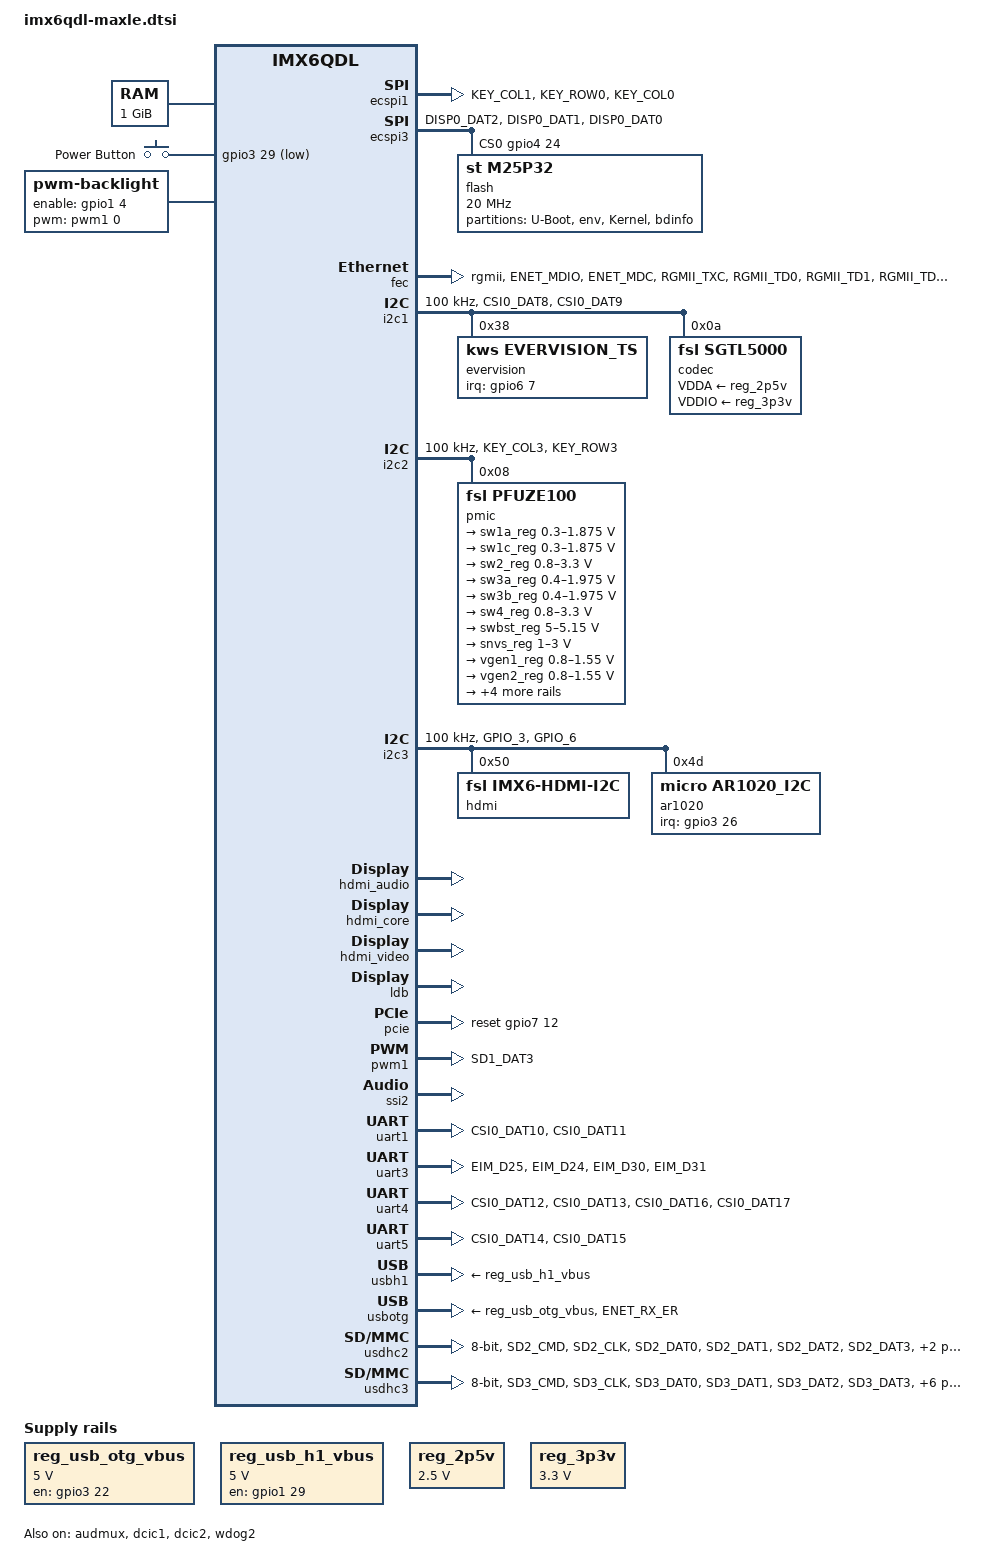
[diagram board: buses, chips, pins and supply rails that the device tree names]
/*
 * Copyright 2012 Freescale Semiconductor, Inc.
 * Copyright 2011 Linaro Ltd.
 *
 * The code contained herein is licensed under the GNU General Public
 * License. You may obtain a copy of the GNU General Public License
 * Version 2 or later at the following locations:
 *
 * http://www.opensource.org/licenses/gpl-license.html
 * http://www.gnu.org/copyleft/gpl.html
 */

#include <dt-bindings/input/input.h>

/ {
	aliases {
		mxcfb0 = &mxcfb1;
		mxcfb1 = &mxcfb2;
		mxcfb2 = &mxcfb3;
		mxcfb3 = &mxcfb4;
	};

	memory {
		reg = <0x10000000 0x40000000>;
	};

	regulators {
		compatible = "simple-bus";
		#address-cells = <1>;
		#size-cells = <0>;

		reg_usb_otg_vbus: regulator@0 {
			compatible = "regulator-fixed";
			reg = <0>;
			regulator-name = "usb_otg_vbus";
			regulator-min-microvolt = <5000000>;
			regulator-max-microvolt = <5000000>;
			gpio = <&gpio3 22 0>;
			enable-active-high;
		};

		reg_usb_h1_vbus: regulator@1 {
			compatible = "regulator-fixed";
			reg = <1>;
			regulator-name = "usb_h1_vbus";
			regulator-min-microvolt = <5000000>;
			regulator-max-microvolt = <5000000>;
			gpio = <&gpio1 29 0>;
			enable-active-high;
		};

		reg_2p5v: regulator@2 {
			compatible = "regulator-fixed";
			reg = <2>;			
			regulator-name = "2P5V";
			regulator-min-microvolt = <2500000>;
			regulator-max-microvolt = <2500000>;
			regulator-always-on;
		};

		reg_3p3v: regulator@3 {
			compatible = "regulator-fixed";
			reg = <3>;
			regulator-name = "3P3V";
			regulator-min-microvolt = <3300000>;
			regulator-max-microvolt = <3300000>;
			regulator-always-on;
		};
	};

	gpio-keys {
		compatible = "gpio-keys";
		pinctrl-names = "default";
		pinctrl-0 = <&pinctrl_gpio_keys>;

		power {
			label = "Power Button";
			gpios = <&gpio3 29 1>;
			gpio-key,wakeup;
			linux,code = <KEY_POWER>;
		};
	};

	sound {
		compatible = "fsl,imx6q-maxle-sgtl5000",
					 "fsl,imx-audio-sgtl5000";
		model = "imx6q-maxle-sgtl5000";
  		cpu-dai = <&ssi2>; 
		audio-codec = <&codec>;
		audio-routing =
			"MIC_IN", "Mic Jack",
			"Mic Jack", "Mic Bias",
			"Headphone Jack", "HP_OUT";
		mux-int-port = <2>;
		mux-ext-port = <3>;
	};


	sound-hdmi {
		compatible = "fsl,imx6q-audio-hdmi",
			     "fsl,imx-audio-hdmi";
		model = "imx-audio-hdmi";
		hdmi-controller = <&hdmi_audio>;
	};

	mxcfb1: fb@0 {
		compatible = "fsl,mxc_sdc_fb";
		disp_dev = "ldb";
		interface_pix_fmt = "RGB666";
		default_bpp = <16>;
		int_clk = <0>;
		late_init = <0>;
		status = "disabled";
	};

	mxcfb2: fb@1 {
		compatible = "fsl,mxc_sdc_fb";
		disp_dev = "hdmi";
		interface_pix_fmt = "RGB24";
		mode_str ="1920x1080M@60";
		default_bpp = <24>;
		int_clk = <0>;
		late_init = <0>;
		status = "disabled";
	};

	mxcfb3: fb@3 {
		compatible = "fsl,mxc_sdc_fb";
		disp_dev = "ldb";
		interface_pix_fmt = "RGB666";
		mode_str ="LDB-XGA"; 
		default_bpp = <16>;
		int_clk = <0>;
		late_init = <0>;
		status = "disabled";
	};

	mxcfb4: fb@3 {
		compatible = "fsl,mxc_sdc_fb";
		disp_dev = "ldb";
		interface_pix_fmt = "RGB666";
		mode_str ="LDB-XGA";
		default_bpp = <16>;
		int_clk = <0>;
		late_init = <0>;
		status = "disabled";
	};

	backlight {
		compatible = "pwm-backlight";
		pwms = <&pwm1 0 5000000>;
		brightness-levels = <0 4 8 16 32 64 128 255>;
		default-brightness-level = <7>;
		status = "okay";   // fehlt bei maxle-alt
		enable-gpios = <&gpio1 4 GPIO_ACTIVE_HIGH>;   //maxles display board
	};

/* maxle: removed for test
	v4l2_cap_0 {
		compatible = "fsl,imx6q-v4l2-capture";
		ipu_id = <0>;
		csi_id = <0>;
		mclk_source = <0>;
		status = "okay";
	};

	v4l2_cap_1 {
		compatible = "fsl,imx6q-v4l2-capture";
		ipu_id = <0>;
		csi_id = <1>;
		mclk_source = <0>;
		status = "okay";
	};
*/
	v4l2_out {
		compatible = "fsl,mxc_v4l2_output";
		status = "okay";
	};

/* maxle: removed
	mipi_dsi_reset: mipi-dsi-reset {
		compatible = "gpio-reset";
		reset-gpios = <&gpio6 11 GPIO_ACTIVE_LOW>;
		reset-delay-us = <50>;
		#reset-cells = <0>;
	};
*/
};

&audmux {
	pinctrl-names = "default";
	pinctrl-0 = <&pinctrl_audmux>;
	status = "okay";
};

&cpu0 {
	arm-supply = <&sw1a_reg>;
	soc-supply = <&sw1c_reg>;
};

&ecspi1 {
	fsl,spi-num-chipselects = <1>;
	cs-gpios = <&gpio4 9 0>;
	pinctrl-names = "default";
	pinctrl-0 = <&pinctrl_ecspi1>;
	status = "okay";
};


&ecspi3 {
	fsl,spi-num-chipselects = <1>;
	cs-gpios = <&gpio4 24 0>;
	pinctrl-names = "default";
	pinctrl-0 = <&pinctrl_ecspi3>;
	status = "okay";

	flash: m25p80@0 {
		#address-cells = <1>;
		#size-cells = <1>;
		compatible = "st,m25p32";
		spi-max-frequency = <20000000>;
		reg = <0>;
		
		partition@0 {
			label = "U-Boot";
			reg = <0x0 0xC0000>;
			//read-only;
		};
		partition@C0000 {
			label = "env";
			reg = <0xc0000 0x10000>;
			//read-only;
		};
		partition@D0000 {
			label = "Kernel";
			reg = <0xd0000 0x320000>;
		};
		partition@3F0000 {
			label = "bdinfo";
			reg = <0x3f0000 0x10000>;
			//read-only;
		};

	};
};


&fec {
	pinctrl-names = "default";
	pinctrl-0 = <&pinctrl_enet>;
	phy-mode = "rgmii";
	phy-reset-duration = <10>;
#if 0
	/* In 3.10.17, reset is not well supported by software! Don'use it. */ 
	phy-reset-gpios = <&gpio1 25 0>;  /* reset bei maxle (muss auskommentiert sein */
#endif
	//mac-address = [00 01 02 03 04 05];   //wird von uboot gefuellt, wenn vorhanden
	local-mac-address = [00 17 53 00 00 01]; //wird normalerweise von uboot erzeugt
//	fsl,magic-packet;   // that's new, for now, don't use
	status = "okay";
};

&i2c1 {
	clock-frequency = <100000>;
	pinctrl-names = "default";
	pinctrl-0 = <&pinctrl_i2c1>; 
	status = "okay";

	evervision: touch@38 {
		compatible = "kws,evervision_ts";
		reg = <0x38>;
		interrupt-parent = <&gpio6>;
		interrupts = <7 2>;  /* org 0 statt 2 ?*/
		status = "okay";
	}; 
 
	codec: sgtl5000@0a {
		compatible = "fsl,sgtl5000";
		reg = <0x0a>;
		clocks = <&clks 201>;
		VDDA-supply = <&reg_2p5v>;
		VDDIO-supply = <&reg_3p3v>;
	};
};

&i2c2 {
	clock-frequency = <100000>;
	pinctrl-names = "default";
	pinctrl-0 = <&pinctrl_i2c2>;
	status = "okay";

	pmic: pfuze100@08 {
		compatible = "fsl,pfuze100";
		reg = <0x08>;

		regulators {
			sw1a_reg: sw1ab {
				regulator-min-microvolt = <300000>;
				regulator-max-microvolt = <1875000>;
				regulator-boot-on;
				regulator-always-on;
				regulator-ramp-delay = <6250>;
			};

			sw1c_reg: sw1c {
				regulator-min-microvolt = <300000>;
				regulator-max-microvolt = <1875000>;
				regulator-boot-on;
				regulator-always-on;
				regulator-ramp-delay = <6250>;
			};

			sw2_reg: sw2 {
				regulator-min-microvolt = <800000>;
				regulator-max-microvolt = <3300000>;
				regulator-boot-on;
				regulator-always-on;
			};

			sw3a_reg: sw3a {
				regulator-min-microvolt = <400000>;
				regulator-max-microvolt = <1975000>;
				regulator-boot-on;
				regulator-always-on;
			};

			sw3b_reg: sw3b {
				regulator-min-microvolt = <400000>;
				regulator-max-microvolt = <1975000>;
				regulator-boot-on;
				regulator-always-on;
			};

			sw4_reg: sw4 {
				regulator-min-microvolt = <800000>;
				regulator-max-microvolt = <3300000>;
			};

			swbst_reg: swbst {
				regulator-min-microvolt = <5000000>;
				regulator-max-microvolt = <5150000>;
			};

			snvs_reg: vsnvs {
				regulator-min-microvolt = <1000000>;
				regulator-max-microvolt = <3000000>;
				regulator-boot-on;
				regulator-always-on;
			};

			vref_reg: vrefddr {
				regulator-boot-on;
				regulator-always-on;
			};

			vgen1_reg: vgen1 {
				regulator-min-microvolt = <800000>;
				regulator-max-microvolt = <1550000>;
 				regulator-always-on; 
			};

			vgen2_reg: vgen2 {
				regulator-min-microvolt = <800000>;
				regulator-max-microvolt = <1550000>;
 				regulator-always-on;
			};

			vgen3_reg: vgen3 {
				regulator-min-microvolt = <1800000>;
				regulator-max-microvolt = <3300000>;
				regulator-always-on;
			};

			vgen4_reg: vgen4 {
				regulator-min-microvolt = <1800000>;
				regulator-max-microvolt = <3300000>;
				regulator-always-on;
			};

			vgen5_reg: vgen5 {
				regulator-min-microvolt = <1800000>;
				regulator-max-microvolt = <3300000>;
				regulator-always-on;
			};

			vgen6_reg: vgen6 {
				regulator-min-microvolt = <1800000>;
				regulator-max-microvolt = <3300000>;
				regulator-always-on;
			};
		};
	};

};

&i2c3 {
	clock-frequency = <100000>;
	pinctrl-names = "default";
	pinctrl-0 = <&pinctrl_i2c3>; 
	status = "okay";

	hdmi: edid@50 {
		compatible = "fsl,imx6-hdmi-i2c";
		reg = <0x50>;
	};
 
 	ar1020@4D {
		compatible = "micro,ar1020_i2c";
		reg = <0x4D>;
		interrupt-parent = <&gpio3>;
		interrupts = <26 2>;
		status = "okay";
	};
};

&iomuxc {
	pinctrl-names = "default";
	pinctrl-0 = <&pinctrl_hog>;

	imx6qdl-maxle {
		pinctrl_hog: hoggrp {
			fsl,pins = <
				MX6QDL_PAD_NANDF_D0__GPIO2_IO00	 0x80000000
				MX6QDL_PAD_NANDF_D1__GPIO2_IO01	 0x80000000
				MX6QDL_PAD_NANDF_D2__GPIO2_IO02	 0x80000000
				MX6QDL_PAD_NANDF_D3__GPIO2_IO03	 0x80000000
				MX6QDL_PAD_NANDF_ALE__GPIO6_IO08 0x80000000
				MX6QDL_PAD_NANDF_CLE__GPIO6_IO07 0x80000000
				MX6QDL_PAD_GPIO_0__CCM_CLKO1     0x130b0
				MX6QDL_PAD_NANDF_CS2__GPIO6_IO15 0x80000000
				MX6QDL_PAD_NANDF_CS3__GPIO6_IO16 0x80000000
				MX6QDL_PAD_EIM_D26__GPIO3_IO26   0x80000000
				MX6QDL_PAD_EIM_CS1__GPIO2_IO24   0x80000000
				MX6QDL_PAD_ENET_RXD0__GPIO1_IO27 0x80000000
				MX6QDL_PAD_EIM_A25__GPIO5_IO02   0x80000000
				MX6QDL_PAD_EIM_D23__GPIO3_IO23   0x80000000
				MX6QDL_PAD_ENET_TXD1__GPIO1_IO29 0x80000000
				MX6QDL_PAD_EIM_D22__GPIO3_IO22   0x80000000
				MX6QDL_PAD_NANDF_CS0__GPIO6_IO11 0x80000000
				MX6QDL_PAD_NANDF_CS1__GPIO6_IO14 0x80000000
				MX6QDL_PAD_EIM_EB3__GPIO2_IO31   0x80000000
				MX6QDL_PAD_EIM_D16__GPIO3_IO16   0x80000000
				MX6QDL_PAD_EIM_DA9__GPIO3_IO09   0x80000000
				MX6QDL_PAD_SD3_RST__GPIO7_IO08   0x80000000		/* headphone detect */
				MX6QDL_PAD_GPIO_9__GPIO1_IO09    0x80000000		/* microphone detect */
				MX6QDL_PAD_GPIO_1__WDOG2_B       0x80000000
				MX6QDL_PAD_GPIO_2__GPIO1_IO02    0x80000000
				MX6QDL_PAD_ENET_TX_EN__GPIO1_IO28  0x1b0b0		/* ethernet IRQ */
				MX6QDL_PAD_ENET_CRS_DV__GPIO1_IO25 0x1b0b0		/* phy reset 0x80000000=ok  0x1b0b0=ok */

				MX6QDL_PAD_NANDF_D4__GPIO2_IO04   0x1b0b1       /* uart3_485 */
				MX6QDL_PAD_NANDF_D5__GPIO2_IO05   0x1b0b1       /* uart3_on */
				MX6QDL_PAD_NANDF_D6__GPIO2_IO06   0x1b0b1       /* V1:  uart3_ren  485 */
																/* V2:  uart3_hafu   low=fulldupex */ 
				MX6QDL_PAD_NANDF_D7__GPIO2_IO07   0x1b0b1       /* V1: uart3_den  485 */
																/* V2: uart3_term */
				MX6QDL_PAD_DISP0_DAT3__GPIO4_IO24 0x1b0b1		/*CS0 SPI3 Flash */

				MX6QDL_PAD_EIM_D19__GPIO3_IO19   0x80000000		/*pcie PowerON  1=on maxle neu 28.10.14*/
				MX6QDL_PAD_GPIO_17__GPIO7_IO12   0x80000000		/*pcie Reset 0=reset */
				MX6QDL_PAD_KEY_COL4__GPIO4_IO14  0x80000000		/*pcie Disable  0=disable */
				MX6QDL_PAD_EIM_D21__USB_OTG_OC   0x80000000		/* OTG Overcurrent */
			>;
		};

		pinctrl_audmux: audmuxgrp {	//audmux-2 ok
			fsl,pins = <
				MX6QDL_PAD_CSI0_DAT7__AUD3_RXD		0x130b0
				MX6QDL_PAD_CSI0_DAT4__AUD3_TXC		0x130b0
				MX6QDL_PAD_CSI0_DAT5__AUD3_TXD		0x110b0
				MX6QDL_PAD_CSI0_DAT6__AUD3_TXFS		0x130b0
			>;
		};

		pinctrl_ecspi1: ecspi1grp {	//ecspi1grp-2 ok
			fsl,pins = <
				MX6QDL_PAD_KEY_COL1__ECSPI1_MISO	0x100b1
				MX6QDL_PAD_KEY_ROW0__ECSPI1_MOSI	0x100b1
				MX6QDL_PAD_KEY_COL0__ECSPI1_SCLK	0x100b1
			>;
		};

		pinctrl_ecspi3: ecspi3grp-1 {	//ecspi1grp-1 ok
			fsl,pins = <
				MX6QDL_PAD_DISP0_DAT2__ECSPI3_MISO	0x100b1
				MX6QDL_PAD_DISP0_DAT1__ECSPI3_MOSI	0x100b1
				MX6QDL_PAD_DISP0_DAT0__ECSPI3_SCLK	0x100b1
			>;
		};

		pinctrl_enet: enetgrp {
			fsl,pins = <
				MX6QDL_PAD_ENET_MDIO__ENET_MDIO		0x1b0b0
				MX6QDL_PAD_ENET_MDC__ENET_MDC		0x1b0b0
				MX6QDL_PAD_RGMII_TXC__RGMII_TXC		0x1b0b0
				MX6QDL_PAD_RGMII_TD0__RGMII_TD0		0x1b0b0
				MX6QDL_PAD_RGMII_TD1__RGMII_TD1		0x1b0b0
				MX6QDL_PAD_RGMII_TD2__RGMII_TD2		0x1b0b0
				MX6QDL_PAD_RGMII_TD3__RGMII_TD3		0x1b0b0
				MX6QDL_PAD_RGMII_TX_CTL__RGMII_TX_CTL	0x1b0b0
				MX6QDL_PAD_ENET_REF_CLK__ENET_TX_CLK	0x1b0b0
				MX6QDL_PAD_RGMII_RXC__RGMII_RXC		0x1b0b0
				MX6QDL_PAD_RGMII_RD0__RGMII_RD0		0x1b0b0
				MX6QDL_PAD_RGMII_RD1__RGMII_RD1		0x1b0b0
				MX6QDL_PAD_RGMII_RD2__RGMII_RD2		0x1b0b0
				MX6QDL_PAD_RGMII_RD3__RGMII_RD3		0x1b0b0
				MX6QDL_PAD_RGMII_RX_CTL__RGMII_RX_CTL	0x1b0b0
// 				MX6QDL_PAD_GPIO_16__ENET_REF_CLK	0x4001b0a8
				MX6QDL_PAD_GPIO_16__ENET_REF_CLK	0xc0000000 //maxle test ???
			>;
		};

		pinctrl_gpio_keys: gpio_keysgrp {
			fsl,pins = <
				MX6QDL_PAD_EIM_D29__GPIO3_IO29 0x80000000
				MX6QDL_PAD_GPIO_4__GPIO1_IO04  0x80000000
				MX6QDL_PAD_GPIO_5__GPIO1_IO05  0x80000000
			>;
		};

/* 
		pinctrl_hdmi_cec: hdmicecgrp {
			fsl,pins = <
				MX6QDL_PAD_KEY_ROW2__HDMI_TX_CEC_LINE 0x1f8b0
			>;
		};
*/

		pinctrl_i2c1: i2c1grp {
			fsl,pins = <	//maxle _2
				MX6QDL_PAD_CSI0_DAT8__I2C1_SDA 0x4001b8b1
				MX6QDL_PAD_CSI0_DAT9__I2C1_SCL 0x4001b8b1
			>;
		};

		pinctrl_i2c2: i2c2grp {
			fsl,pins = <	//maxle _2
				MX6QDL_PAD_KEY_COL3__I2C2_SCL 0x4001b8b1
				MX6QDL_PAD_KEY_ROW3__I2C2_SDA 0x4001b8b1
			>;

		};

		pinctrl_i2c3: i2c3grp {
			fsl,pins = <
				MX6QDL_PAD_GPIO_3__I2C3_SCL		0x4001b8b1
				MX6QDL_PAD_GPIO_6__I2C3_SDA		0x4001b8b1
			>;
		};

		pinctrl_ipu1: ipu1grp {
			fsl,pins = <
				MX6QDL_PAD_DI0_DISP_CLK__IPU1_DI0_DISP_CLK 0x10
				MX6QDL_PAD_DI0_PIN15__IPU1_DI0_PIN15       0x10
				MX6QDL_PAD_DI0_PIN2__IPU1_DI0_PIN02        0x10
				MX6QDL_PAD_DI0_PIN3__IPU1_DI0_PIN03        0x10
				MX6QDL_PAD_DI0_PIN4__IPU1_DI0_PIN04        0x80000000
				MX6QDL_PAD_DISP0_DAT0__IPU1_DISP0_DATA00   0x10
				MX6QDL_PAD_DISP0_DAT1__IPU1_DISP0_DATA01   0x10
				MX6QDL_PAD_DISP0_DAT2__IPU1_DISP0_DATA02   0x10
				MX6QDL_PAD_DISP0_DAT3__IPU1_DISP0_DATA03   0x10
				MX6QDL_PAD_DISP0_DAT4__IPU1_DISP0_DATA04   0x10
				MX6QDL_PAD_DISP0_DAT5__IPU1_DISP0_DATA05   0x10
				MX6QDL_PAD_DISP0_DAT6__IPU1_DISP0_DATA06   0x10
				MX6QDL_PAD_DISP0_DAT7__IPU1_DISP0_DATA07   0x10
				MX6QDL_PAD_DISP0_DAT8__IPU1_DISP0_DATA08   0x10
				MX6QDL_PAD_DISP0_DAT9__IPU1_DISP0_DATA09   0x10
				MX6QDL_PAD_DISP0_DAT10__IPU1_DISP0_DATA10  0x10
				MX6QDL_PAD_DISP0_DAT11__IPU1_DISP0_DATA11  0x10
				MX6QDL_PAD_DISP0_DAT12__IPU1_DISP0_DATA12  0x10
				MX6QDL_PAD_DISP0_DAT13__IPU1_DISP0_DATA13  0x10
				MX6QDL_PAD_DISP0_DAT14__IPU1_DISP0_DATA14  0x10
				MX6QDL_PAD_DISP0_DAT15__IPU1_DISP0_DATA15  0x10
				MX6QDL_PAD_DISP0_DAT16__IPU1_DISP0_DATA16  0x10
				MX6QDL_PAD_DISP0_DAT17__IPU1_DISP0_DATA17  0x10
				MX6QDL_PAD_DISP0_DAT18__IPU1_DISP0_DATA18  0x10
				MX6QDL_PAD_DISP0_DAT19__IPU1_DISP0_DATA19  0x10
				MX6QDL_PAD_DISP0_DAT20__IPU1_DISP0_DATA20  0x10
				MX6QDL_PAD_DISP0_DAT21__IPU1_DISP0_DATA21  0x10
				MX6QDL_PAD_DISP0_DAT22__IPU1_DISP0_DATA22  0x10
				MX6QDL_PAD_DISP0_DAT23__IPU1_DISP0_DATA23  0x10
			>;
		};

		pinctrl_ipu1_2: ipu1grp-2 { /* parallel camera */
			fsl,pins = <
				MX6QDL_PAD_CSI0_DAT12__IPU1_CSI0_DATA12    0x80000000
				MX6QDL_PAD_CSI0_DAT13__IPU1_CSI0_DATA13    0x80000000
				MX6QDL_PAD_CSI0_DAT14__IPU1_CSI0_DATA14    0x80000000
				MX6QDL_PAD_CSI0_DAT15__IPU1_CSI0_DATA15    0x80000000
				MX6QDL_PAD_CSI0_DAT16__IPU1_CSI0_DATA16    0x80000000
				MX6QDL_PAD_CSI0_DAT17__IPU1_CSI0_DATA17    0x80000000
				MX6QDL_PAD_CSI0_DAT18__IPU1_CSI0_DATA18    0x80000000
				MX6QDL_PAD_CSI0_DAT19__IPU1_CSI0_DATA19    0x80000000
				MX6QDL_PAD_CSI0_DATA_EN__IPU1_CSI0_DATA_EN 0x80000000
				MX6QDL_PAD_CSI0_PIXCLK__IPU1_CSI0_PIXCLK   0x80000000
				MX6QDL_PAD_CSI0_MCLK__IPU1_CSI0_HSYNC      0x80000000
				MX6QDL_PAD_CSI0_VSYNC__IPU1_CSI0_VSYNC     0x80000000
			>;
		};

		pinctrl_pwm1: pwm1grp {
			fsl,pins = <
				MX6QDL_PAD_SD1_DAT3__PWM1_OUT		0x1b0b1
			>;
		};

		pinctrl_uart1: uart1grp {
			fsl,pins = <
				MX6QDL_PAD_CSI0_DAT10__UART1_TX_DATA	0x1b0b1
				MX6QDL_PAD_CSI0_DAT11__UART1_RX_DATA	0x1b0b1
			>;
		};

		pinctrl_uart3: uart3grp {   /* added for maxle */
			fsl,pins = <
				MX6QDL_PAD_EIM_D25__UART3_RX_DATA 0x1b0b1
				MX6QDL_PAD_EIM_D24__UART3_TX_DATA 0x1b0b1
				MX6QDL_PAD_EIM_D30__UART3_CTS_B   0x1b0b1
				MX6QDL_PAD_EIM_D31__UART3_RTS_B   0x1b0b1
#if 0
				MX6QDL_PAD_NANDF_D4__GPIO2_IO04   0x1b0b1	/* uart3_485 */
				MX6QDL_PAD_NANDF_D5__GPIO2_IO05   0x1b0b1	/* uart3_on */
				MX6QDL_PAD_NANDF_D6__GPIO2_IO06   0x1b0b1	/* uart3_ren  485 */
				MX6QDL_PAD_NANDF_D7__GPIO2_IO07   0x1b0b1	/* uart3_den  485 */
#endif
			>;
		};

		pinctrl_uart4: uart4grp {		/* maxle added */
			fsl,pins = <
				MX6QDL_PAD_CSI0_DAT12__UART4_TX_DATA 0x1b0b1
				MX6QDL_PAD_CSI0_DAT13__UART4_RX_DATA 0x1b0b1
				MX6QDL_PAD_CSI0_DAT16__UART4_RTS_B   0x1b0b1
				MX6QDL_PAD_CSI0_DAT17__UART4_CTS_B   0x1b0b1
			>;
		};
			
		pinctrl_uart5: uart5grp {
			fsl,pins = <
				MX6QDL_PAD_CSI0_DAT14__UART5_TX_DATA 0x1b0b1
				MX6QDL_PAD_CSI0_DAT15__UART5_RX_DATA 0x1b0b1
			>;
		};

		pinctrl_flexcan1: flexcan1grp {
			fsl,pins = <
				MX6QDL_PAD_GPIO_7__FLEXCAN1_TX   0x80000000
				MX6QDL_PAD_GPIO_8__FLEXCAN1_RX   0x80000000
			>;
		};

		pinctrl_flexcan2: flexcan2grp-1 {
			fsl,pins = <
				MX6QDL_PAD_KEY_COL4__FLEXCAN2_TX 0x80000000
				MX6QDL_PAD_KEY_ROW4__FLEXCAN2_RX 0x80000000
			>;
		};

		pinctrl_usbotg: usbotggrp { 
			fsl,pins = <
				MX6QDL_PAD_ENET_RX_ER__USB_OTG_ID	0x17059
			>;
		};

		pinctrl_usdhc2: usdhc2grp {
			fsl,pins = <
				MX6QDL_PAD_SD2_CMD__SD2_CMD		0x17059
				MX6QDL_PAD_SD2_CLK__SD2_CLK		0x10059
				MX6QDL_PAD_SD2_DAT0__SD2_DATA0		0x17059
				MX6QDL_PAD_SD2_DAT1__SD2_DATA1		0x17059
				MX6QDL_PAD_SD2_DAT2__SD2_DATA2		0x17059
				MX6QDL_PAD_SD2_DAT3__SD2_DATA3		0x17059
/* maxle: has a 4-Bit Interface only, so don't use DATA4-DATA7 
				MX6QDL_PAD_NANDF_D4__SD2_DATA4		0x17059
				MX6QDL_PAD_NANDF_D5__SD2_DATA5		0x17059
				MX6QDL_PAD_NANDF_D6__SD2_DATA6		0x17059
				MX6QDL_PAD_NANDF_D7__SD2_DATA7		0x17059
*/
			>;
		};

		pinctrl_usdhc3: usdhc3grp {
			fsl,pins = <
				MX6QDL_PAD_SD3_CMD__SD3_CMD		0x17059
				MX6QDL_PAD_SD3_CLK__SD3_CLK		0x10059
				MX6QDL_PAD_SD3_DAT0__SD3_DATA0		0x17059
				MX6QDL_PAD_SD3_DAT1__SD3_DATA1		0x17059
				MX6QDL_PAD_SD3_DAT2__SD3_DATA2		0x17059
				MX6QDL_PAD_SD3_DAT3__SD3_DATA3		0x17059
				MX6QDL_PAD_SD3_DAT4__SD3_DATA4		0x17059
				MX6QDL_PAD_SD3_DAT5__SD3_DATA5		0x17059
				MX6QDL_PAD_SD3_DAT6__SD3_DATA6		0x17059
				MX6QDL_PAD_SD3_DAT7__SD3_DATA7		0x17059
			>;
		};

		pinctrl_usdhc4: usdhc4grp {
			fsl,pins = <
				MX6QDL_PAD_SD4_CMD__SD4_CMD		0x17059
				MX6QDL_PAD_SD4_CLK__SD4_CLK		0x10059
				MX6QDL_PAD_SD4_DAT0__SD4_DATA0		0x17059
				MX6QDL_PAD_SD4_DAT1__SD4_DATA1		0x17059
				MX6QDL_PAD_SD4_DAT2__SD4_DATA2		0x17059
				MX6QDL_PAD_SD4_DAT3__SD4_DATA3		0x17059
				MX6QDL_PAD_SD4_DAT4__SD4_DATA4		0x17059
				MX6QDL_PAD_SD4_DAT5__SD4_DATA5		0x17059
				MX6QDL_PAD_SD4_DAT6__SD4_DATA6		0x17059
				MX6QDL_PAD_SD4_DAT7__SD4_DATA7		0x17059
			>;
		};

	};
};

&dcic1 {
	dcic_id = <0>;
	dcic_mux = "dcic-hdmi";
	status = "okay";
};

&dcic2 {
	dcic_id = <1>;
	dcic_mux = "dcic-lvds1";
	status = "okay";
};

&gpc {
	/* use ldo-bypass, u-boot will check it and configure */
	fsl,ldo-bypass = <1>;
	fsl,wdog-reset = <2>;
};

&hdmi_audio {
	status = "okay";
};

/*
&hdmi_cec {
	pinctrl-names = "default";
	pinctrl-0 = <&pinctrl_hdmi_cec>;
	status = "okay";
};
*/

&hdmi_core {
	ipu_id = <0>;
	disp_id = <0>;
	status = "okay";
};

&hdmi_video {
	fsl,phy_reg_vlev = <0x0294>;
	fsl,phy_reg_cksymtx = <0x800d>;
	status = "okay";
};

&ldb {
	status = "okay";

#ifdef USE_SPLIT_MODE
	split-mode;		/* for dual channel displays */
#endif
#ifdef USE_DUAL_MODE
	dual-mode;		/* same screen on two displays */
#endif

	lvds-channel@0 {
		fsl,data-mapping = "spwg";
		fsl,data-width = <24>;
		status = "okay";
#if defined(USE_SPLIT_MODE) || defined(USE_DUAL_MODE)
		primary;
#else
#endif
		display-timings {
			native-mode = <&tim0_5>;

			tim0_0: evervision_vga {		 // 640x480
				clock-frequency = <42000000>; 
// 				clock-frequency = <25176000>; 
				hactive = <640>; 
				vactive = <480>; 
				hback-porch = <144>; 
				hfront-porch = <50>; 
				vback-porch = <33>; 
				vfront-porch = <10>; 
				hsync-len = <96>; 
				vsync-len = <3>; 
			}; 

			tim0_1: evervision_wvga {	 	// 800x480
				clock-frequency = <38000000>; // 34=minimum 
				hactive = <800>; 
				vactive = <480>;   
				hback-porch = <56>;
				hfront-porch = <50>; 
				vback-porch = <20>; 
				vfront-porch = <53>; 
				hsync-len = <180>; 
				vsync-len = <30>;
			}; 

			tim0_2: SVGA {				 	// 800x600
				clock-frequency = <41230000>; 
				hactive = <800>; 
				vactive = <600>; 
				hback-porch = <200>; 
				hfront-porch = <56>; 
				vback-porch = <20>; 
				vfront-porch = <8>; 
				hsync-len = <5>; 
				vsync-len = <5>; 
			};

			tim0_3: hsd100pxn1 { 			// 1024x600
 				clock-frequency = <52000000>; 
 				hactive = <1024>; 
 				vactive = <600>; 
 				hback-porch = <220>; 
 				hfront-porch = <40>; 
 				vback-porch = <7>; 
 				vfront-porch = <21>; 
 				hsync-len = <60>; 
 				vsync-len = <10>; 
 			}; 

			tim0_4: XGA	{				 	// 1024x768
//				clock-frequency = <52000000>; //???? adjust it!
				hactive = <1024>; 
				vactive = <768>; 
				hback-porch = <220>; 
				hfront-porch = <40>; 
				vback-porch = <7>; 
				vfront-porch = <21>; 
				hsync-len = <60>; 
				vsync-len = <10>; 
			}; 

			tim0_5: lp101wx1 {				// 1280x800
 				clock-frequency = <71000000>;  
 				hactive = <1280>; 
 				vactive = <800>; 
 				hback-porch = <48>; 
 				hfront-porch = <80>; 
 				vback-porch = <15>; 
 				vfront-porch = <2>; 
 				hsync-len = <32>; 
 				vsync-len = <6>; 
 			};
 			 
 			tim0_6: SXGA { 					// 1280x1024
 				clock-frequency = <72000000>; 
 				hactive = <1280>; 
 				vactive = <1024>;   
 				hback-porch = <48>; 
 				hfront-porch = <80>; 
 				vback-porch = <15>; 
 				vfront-porch = <2>; 
 				hsync-len = <32>; 
 				vsync-len = <6>; 
 			};

			tim0_7: Innolux_G185BGE_L01 {	 // 1366x768
				clock-frequency = <76000000>; 
				hactive = <1366>; 
				vactive = <768>; 
				hback-porch = <48>; 
				hfront-porch = <80>; 
				vback-porch = <15>; 
				vfront-porch = <2>; 
				hsync-len = <32>; 
				vsync-len = <6>; 
			};

			tim0_8: HD1920 { 				// 1920x1080
				clock-frequency = <130000000>;  
				hactive = <1920>; 
				vactive = <1080>;   
				hback-porch = <100>; 
				hfront-porch = <40>; 
				vback-porch = <30>; 
				vfront-porch = <3>; 
				hsync-len = <10>; 
				vsync-len = <2>; 
			};
		};
	};

#if defined(USE_SPLIT_MODE) || defined(USE_DUAL_MODE)
  /* in split-mode or dual-mode do not define lvds-channel@1 */
#else

	lvds-channel@1 {
		fsl,data-mapping = "spwg";
		fsl,data-width = <24>; 
		primary;
		status = "okay";

		display-timings {
			native-mode = <&tim1_5>; 

			tim1_0: evervision_vga {		 // 640x480
				clock-frequency = <42000000>; 
// 				clock-frequency = <25176000>; 
				hactive = <640>; 
				vactive = <480>; 
				hback-porch = <144>; 
				hfront-porch = <50>; 
				vback-porch = <33>; 
				vfront-porch = <10>; 
				hsync-len = <96>; 
				vsync-len = <3>; 
			}; 

			tim1_1: evervision_wvga {		 // 800x480
				clock-frequency = <38000000>; // 34=minimum 
				hactive = <800>; 
				vactive = <480>;   
				hback-porch = <56>;
				hfront-porch = <50>; 
				vback-porch = <20>; 
				vfront-porch = <53>; 
				hsync-len = <180>; 
				vsync-len = <30>;
			}; 

			tim1_2: SVGA {					 // 800x600
				clock-frequency = <41230000>; 
				hactive = <800>; 
				vactive = <600>; 
				hback-porch = <200>; 
				hfront-porch = <56>; 
				vback-porch = <20>; 
				vfront-porch = <8>; 
				hsync-len = <5>; 
				vsync-len = <5>; 
			};

			tim1_3: hsd100pxn1 { 			// 1024x600
 				clock-frequency = <52000000>; 
 				hactive = <1024>; 
 				vactive = <600>; 
 				hback-porch = <220>; 
 				hfront-porch = <40>; 
 				vback-porch = <7>; 
 				vfront-porch = <21>; 
 				hsync-len = <60>; 
 				vsync-len = <10>; 
 			}; 

			tim1_4: XGA	{		 			// 1024x768
				clock-frequency = <52000000>; //???? adjust it!
				hactive = <1024>; 
				vactive = <768>; 
				hback-porch = <220>; 
				hfront-porch = <40>; 
				vback-porch = <7>; 
				vfront-porch = <21>; 
				hsync-len = <60>; 
				vsync-len = <10>; 
			}; 

			tim1_5: lp101wx1 {				// 1280x800
 				clock-frequency = <71000000>;  
 				hactive = <1280>; 
 				vactive = <800>; 
 				hback-porch = <48>; 
 				hfront-porch = <80>; 
 				vback-porch = <15>; 
 				vfront-porch = <2>; 
 				hsync-len = <32>; 
 				vsync-len = <6>; 
 			};
 			 
 			tim1_6: SXGA {					// 1280x1024
 				clock-frequency = <72000000>; 
 				hactive = <1280>; 
 				vactive = <1024>;   
 				hback-porch = <48>; 
 				hfront-porch = <80>; 
 				vback-porch = <15>; 
 				vfront-porch = <2>; 
 				hsync-len = <32>; 
 				vsync-len = <6>; 
 			};

			tim1_7: Innolux_G185BGE_L01 {	// 1366x768
				clock-frequency = <76000000>; 
				hactive = <1366>; 
				vactive = <768>; 
				hback-porch = <48>; 
				hfront-porch = <80>; 
				vback-porch = <15>; 
				vfront-porch = <2>; 
				hsync-len = <32>; 
				vsync-len = <6>; 
			};

			tim1_8: HD1920 {				// 1920x1080
				clock-frequency = <130000000>;  
				hactive = <1920>; 
				vactive = <1080>;   
				hback-porch = <100>; 
				hfront-porch = <40>; 
				vback-porch = <30>; 
				vfront-porch = <3>; 
				hsync-len = <10>; 
				vsync-len = <2>; 
			};
		};
	};
#endif
};

&pcie {
	power-on-gpio = <&gpio3 19 0>;
	reset-gpio = <&gpio7 12 0>;
	status = "okay";
};

&pwm1 {
	pinctrl-names = "default";
	pinctrl-0 = <&pinctrl_pwm1>;
	status = "okay";
};

&ssi2 {
	fsl,mode = "i2s-slave";
	status = "okay";
};

&uart1 {
	pinctrl-names = "default";
	pinctrl-0 = <&pinctrl_uart1>;
	status = "okay";
};

#if 0
/*  Handshake-Test via "stest" works with
    or without setting 'fsl,uart-has-rtscts;'
*/
&uart3 {
	/* normal rs232 UART */
	//compatible = "fsl,imx6q-uart", "fsl,imx21-uart";  set this??
	pinctrl-names = "default";
	pinctrl-0 = <&pinctrl_uart3>;
/*	fsl,uart-has-rtscts; */
	uart3-on = <&gpio2 5 GPIO_ACTIVE_LOW>;
	status = "okay";
};
#else
&uart3 {                           
	/* set compatible to xx-rs485 here, if you want to use
	   the "imx_rs485.c" (testing) driver for maxle
	 */
	compatible = "fsl,imx6q-uart-rs485", "fsl,imx21-uart-rs485";
	pinctrl-names = "default";
	pinctrl-0 = <&pinctrl_uart3>;
	//fsl,uart-has-rtscts;			// maxle! Check it
	uart3-485 = <&gpio2 4 GPIO_ACTIVE_LOW>;
	uart3-on = <&gpio2 5 GPIO_ACTIVE_LOW>;
	uart3-hafu = <&gpio2 6 GPIO_ACTIVE_HIGH>;
	uart3-term = <&gpio2 7 GPIO_ACTIVE_HIGH>;
	status = "okay";
};
#endif

&uart4 {
	pinctrl-names = "default";
	pinctrl-0 = <&pinctrl_uart4>;
	status = "okay";
};

&uart5 {
	pinctrl-names = "default";
	pinctrl-0 = <&pinctrl_uart5>;
	status = "okay";
};

&flexcan1 {
	pinctrl-names = "default";
	pinctrl-0 = <&pinctrl_flexcan1>;   /* maxle pins flexcan1_3 */
#if 0
	pinctrl-assert-gpios = <&max7310_b 3 GPIO_ACTIVE_HIGH>; /* TX */
	trx-en-gpio = <&max7310_b 6 GPIO_ACTIVE_HIGH>;
	trx-stby-gpio = <&max7310_b 5 GPIO_ACTIVE_HIGH>;
#endif
	status = "disabled"; /* bei sabreauto pin conflict with fec */
};

&usbh1 {
	vbus-supply = <&reg_usb_h1_vbus>;
	status = "okay";
};

&usbotg {
	vbus-supply = <&reg_usb_otg_vbus>;
	pinctrl-names = "default";
	pinctrl-0 = <&pinctrl_usbotg>;
	disable-over-current;
	status = "okay";
};

&usdhc2 {
	pinctrl-names = "default";
	pinctrl-0 = <&pinctrl_usdhc2>;	// maxle: 4-Bit Interface
	bus-width = <8>;		// maxle: org was 8
	cd-gpios = <&gpio2 2 0>;
	wp-gpios = <&gpio2 3 0>;
	no-1-8-v;
	keep-power-in-suspend;
	enable-sdio-wakeup;
	status = "okay";
};

&usdhc3 {
	pinctrl-names = "default";
	pinctrl-0 = <&pinctrl_usdhc3>;
	bus-width = <8>;
	cd-gpios = <&gpio2 0 0>;
	wp-gpios = <&gpio2 1 0>;
	no-1-8-v;
	keep-power-in-suspend;
	enable-sdio-wakeup;
	status = "okay";
};

&usdhc4 {
	pinctrl-names = "default";
	pinctrl-0 = <&pinctrl_usdhc4>;
	bus-width = <8>;
	non-removable;
	no-1-8-v;
	keep-power-in-suspend;
	status = "disabled";      // maxle
};

&wdog1 {
	status = "disabled";
};

&wdog2 {
	status = "okay";
};
